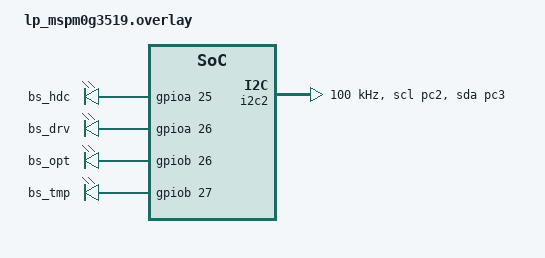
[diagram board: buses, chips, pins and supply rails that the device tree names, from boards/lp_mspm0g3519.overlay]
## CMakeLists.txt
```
# SPDX-License-Identifier: Apache-2.0
cmake_minimum_required(VERSION 3.20.0)
find_package(Zephyr REQUIRED HINTS $ENV{ZEPHYR_BASE})
project(mspm0_i2c_probe)
target_sources(app PRIVATE src/main.c)
```

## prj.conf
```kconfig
CONFIG_I2C=y
CONFIG_GPIO=y
CONFIG_STDOUT_CONSOLE=y
CONFIG_PRINTK=y
CONFIG_BOOT_BANNER=n
CONFIG_MAIN_STACK_SIZE=2048
```

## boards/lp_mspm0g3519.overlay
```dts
/*
 * LP-MSPM0G3519, BP-BASSENSORSMKII on the top site: BoosterPack pin 9 (SCL) is PC2 and
 * pin 10 (SDA) is PC3, I2C2 function (PINCM76 and PINCM77, function 2; SysConfig
 * output for MSPM0G351X, SDK 2.11.00.07). The pack has its own pull-ups; the internal
 * ones are on so an empty bus idles high.
 * Sensor power pins (this repo's pack driver, portability/boosterpacks/bassensorsmkii):
 * PA25 HDC2080 and PA26 DRV5055 sit behind P-channel switches (low = on); PB26 OPT3001
 * and PB27 TMP117 are powered straight from the pin (high = on).
 */
#include <zephyr/dt-bindings/gpio/gpio.h>
#include <zephyr/dt-bindings/pinctrl/mspm0-pinctrl.h>

&pinctrl {
	i2c2_scl_pc2: i2c2_scl_pc2 {
		pinmux = <MSP_PINMUX(76, MSPM0_PIN_FUNCTION_2)>;
		input-enable;
		drive-open-drain;
		bias-pull-up;
	};

	i2c2_sda_pc3: i2c2_sda_pc3 {
		pinmux = <MSP_PINMUX(77, MSPM0_PIN_FUNCTION_2)>;
		input-enable;
		drive-open-drain;
		bias-pull-up;
	};
};

&i2c2 {
	pinctrl-0 = <&i2c2_scl_pc2 &i2c2_sda_pc3>;
	pinctrl-names = "default";
	clock-frequency = <I2C_BITRATE_STANDARD>;
	status = "okay";
};

/ {
	bs_power {
		compatible = "gpio-leds";
		bs_hdc: bs_hdc { gpios = <&gpioa 25 GPIO_ACTIVE_HIGH>; };
		bs_drv: bs_drv { gpios = <&gpioa 26 GPIO_ACTIVE_HIGH>; };
		bs_opt: bs_opt { gpios = <&gpiob 26 GPIO_ACTIVE_HIGH>; };
		bs_tmp: bs_tmp { gpios = <&gpiob 27 GPIO_ACTIVE_HIGH>; };
	};
};
```

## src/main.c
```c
/*
 * MSPM0 I2C controller check on whatever sits on the LP-MSPM0G3519's BoosterPack I2C pins
 * (I2C2 on PC2/PC3): bus scan, then ID registers of the devices that answer.
 * In the style of samples/drivers/i2c/scan. Prints "I2C-PROBE: PASS" or "I2C-PROBE: FAIL".
 *   FT6336U touch controller 0x38 (Waveshare 3.5 inch panel): reg 0xA8 vendor 0x11, reg 0xA3 chip 0x64
 *   HDC2080 0x40 (BP-BASSENSORSMKII): regs 0xFC/0xFD = 0x49 0x54 ("TI"), 0xFE/0xFF = 0xD0 0x07;
 *     temperature: trigger MEAS_CONFIG 0x0F, read 0x00..0x03: T = raw / 65536 * 165 - 40.5
 *   OPT3001 0x44: reg 0x7E = 0x5449, reg 0x7F = 0x3001 (16 bit, big endian)
 * A device is checked only if it answers the scan. PASS needs one known device with the right ID
 * and no known device with a wrong one.
 */
#include <zephyr/kernel.h>
#include <zephyr/device.h>
#include <zephyr/drivers/i2c.h>
#include <zephyr/drivers/gpio.h>
#include <zephyr/sys/printk.h>

#define I2C_NODE DT_NODELABEL(i2c2)

static int fails;
static int good;

static void check(const char *what, bool ok, int detail)
{
	printk("RESULT %-48s %s (%d)\n", what, ok ? "ok" : "FAIL", detail);
	if (ok) {
		good++;
	} else {
		fails++;
	}
}

#ifdef BS_POWER
static const struct gpio_dt_spec hdc = GPIO_DT_SPEC_GET(DT_NODELABEL(bs_hdc), gpios);
static const struct gpio_dt_spec drv = GPIO_DT_SPEC_GET(DT_NODELABEL(bs_drv), gpios);
static const struct gpio_dt_spec opt = GPIO_DT_SPEC_GET(DT_NODELABEL(bs_opt), gpios);
static const struct gpio_dt_spec tmp = GPIO_DT_SPEC_GET(DT_NODELABEL(bs_tmp), gpios);
#endif

static bool present[128];

int main(void)
{
	const struct device *i2c = DEVICE_DT_GET(I2C_NODE);
	uint8_t r[2];
	int rc, found = 0;
	uint32_t t0;

	printk("\nMSPM0 I2C probe, board %s\n", CONFIG_BOARD_TARGET);
	if (!device_is_ready(i2c)) {
		check("i2c device ready", false, 0);
		printk("I2C-PROBE: FAIL\n");
		return 0;
	}

#ifdef BS_POWER
	/*
	 * BP-BASSENSORSMKII power pins: HDC2080 and DRV5055 low = on, OPT3001 and TMP117 high = on.
	 * Build with -DBS_POWER=1 only with that pack stacked: with the Waveshare panel wired, PA25 and
	 * PB26 are display pins and must not be driven.
	 */
	gpio_pin_configure_dt(&hdc, GPIO_OUTPUT_LOW);
	gpio_pin_configure_dt(&drv, GPIO_OUTPUT_LOW);
	gpio_pin_configure_dt(&opt, GPIO_OUTPUT_HIGH);
	gpio_pin_configure_dt(&tmp, GPIO_OUTPUT_HIGH);
	k_msleep(50);
#endif

	printk("scan (7-bit addresses, one-byte read each):\n");
	for (uint8_t a = 0x08; a <= 0x77; a++) {
		uint8_t d = 0xee;

		t0 = k_cycle_get_32();
		rc = i2c_read(i2c, &d, 1, a);
		if (rc == 0) {
			printk("  0x%02x answers (%u us), data byte 0x%02x\n", a,
			       k_cyc_to_us_floor32(k_cycle_get_32() - t0), d);
			present[a] = true;
			found++;
		}
	}
	printk("scan found %d device(s)\n", found);
	if (found == 0) {
		fails++;
		printk("RESULT scan finds at least one device                  FAIL (0)\n");
	}

	if (present[0x38]) {
		uint8_t v = 0, c = 0, fw = 0, tp = 0xff;

		rc = i2c_reg_read_byte(i2c, 0x38, 0xa8, &v);
		int rc2 = i2c_reg_read_byte(i2c, 0x38, 0xa3, &c);

		i2c_reg_read_byte(i2c, 0x38, 0xa6, &fw);
		i2c_reg_read_byte(i2c, 0x38, 0x02, &tp);
		printk("FT6336U vendor 0x%02x chip 0x%02x firmware 0x%02x touch points %u (rc %d %d)\n", v,
		       c, fw, tp, rc, rc2);
		check("FT6336U vendor ID 0x11 and chip ID 0x64", rc == 0 && rc2 == 0 && v == 0x11 && c == 0x64,
		      rc ? rc : rc2);
	} else {
		printk("FT6336U 0x38: not on the bus\n");
	}

	if (present[0x40]) {
		rc = i2c_burst_read(i2c, 0x40, 0xfc, r, 2);
		printk("HDC2080 manufacturer id bytes: rc %d  %02x %02x\n", rc, r[0], r[1]);
		check("HDC2080 manufacturer ID 0x5449", rc == 0 && r[0] == 0x49 && r[1] == 0x54, rc);
		rc = i2c_burst_read(i2c, 0x40, 0xfe, r, 2);
		printk("HDC2080 device id bytes: rc %d  %02x %02x\n", rc, r[0], r[1]);
		check("HDC2080 device ID 0x07D0", rc == 0 && r[0] == 0xd0 && r[1] == 0x07, rc);

		uint8_t cmd[2] = {0x0f, 0x01};
		uint8_t m[4];

		rc = i2c_write(i2c, cmd, 2, 0x40);
		k_msleep(30);
		rc |= i2c_burst_read(i2c, 0x40, 0x00, m, 4);
		if (rc == 0) {
			uint32_t t_raw = m[0] | (m[1] << 8);
			uint32_t h_raw = m[2] | (m[3] << 8);
			int32_t t_mc = (int32_t)((t_raw * 165000ULL) / 65536) - 40500;
			int32_t h_pm = (int32_t)((h_raw * 1000ULL) / 65536);

			printk("HDC2080 raw %04x %04x -> %d.%02d C, %d.%d %%RH\n", (unsigned int)t_raw,
			       (unsigned int)h_raw, t_mc / 1000, (t_mc < 0 ? -t_mc : t_mc) % 1000 / 10,
			       h_pm / 10, h_pm % 10);
			check("HDC2080 temperature between 10 and 45 C", t_mc > 10000 && t_mc < 45000, t_mc);
		} else {
			check("HDC2080 temperature read", false, rc);
		}
	} else {
		printk("HDC2080 0x40: not on the bus (BP-BASSENSORSMKII not stacked)\n");
	}

	if (present[0x44]) {
		rc = i2c_burst_read(i2c, 0x44, 0x7e, r, 2);
		printk("OPT3001 manufacturer id: rc %d  %02x%02x\n", rc, r[0], r[1]);
		check("OPT3001 manufacturer ID 0x5449", rc == 0 && r[0] == 0x54 && r[1] == 0x49, rc);
		rc = i2c_burst_read(i2c, 0x44, 0x7f, r, 2);
		printk("OPT3001 device id: rc %d  %02x%02x\n", rc, r[0], r[1]);
		check("OPT3001 device ID 0x3001", rc == 0 && r[0] == 0x30 && r[1] == 0x01, rc);
	} else {
		printk("OPT3001 0x44: not on the bus\n");
	}

	/* write, repeated start, read through the transfer array, on the first device found */
	for (int a = 0x08; a <= 0x77; a++) {
		if (present[a] && a == 0x38) {
			struct i2c_msg msgs[2];
			uint8_t reg = 0xa3, id = 0;

			msgs[0].buf = &reg;
			msgs[0].len = 1;
			msgs[0].flags = I2C_MSG_WRITE;
			msgs[1].buf = &id;
			msgs[1].len = 1;
			msgs[1].flags = I2C_MSG_READ | I2C_MSG_STOP;
			rc = i2c_transfer(i2c, msgs, 2, a);
			check("i2c_transfer write + repeated start + read (0xA3)", rc == 0 && id == 0x64, rc);
		}
	}

	/* an address nobody has must give an error, not hang */
	t0 = k_cycle_get_32();
	rc = i2c_read(i2c, r, 1, 0x7a);
	printk("read from empty address 0x7a: rc %d after %u us\n", rc,
	       k_cyc_to_us_floor32(k_cycle_get_32() - t0));
	check("empty address gives an error", rc != 0, rc);

	bool pass = fails == 0 && good >= 2;

	printk("I2C-PROBE: %s\n", pass ? "PASS" : "FAIL");
	while (1) {
		k_sleep(K_SECONDS(5));
		printk("I2C-PROBE: %s (idle)\n", pass ? "PASS" : "FAIL");
	}
	return 0;
}
```
